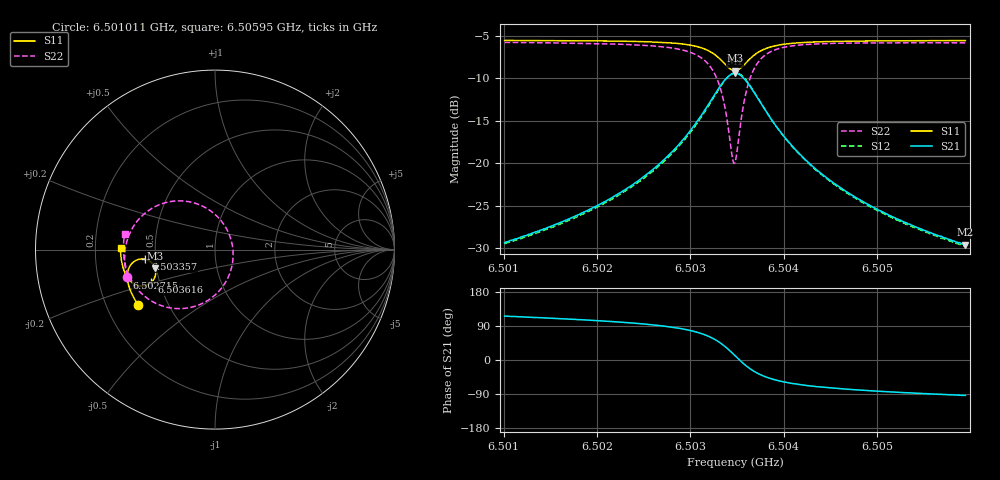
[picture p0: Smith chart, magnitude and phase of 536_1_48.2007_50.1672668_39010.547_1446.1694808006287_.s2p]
#  HZ  S  RI  R  50.00
! Rohde & Schwarz Vector Network Analyzer
! Rohde-Schwarz,ZNB20-2Port,1311601062101988,3.16
! Created: UTC 3/20/2024, 12:00:04 PM
! freq[Hz]  re:S11  im:S11  re:S21  im:S21  re:S12  im:S12  re:S22  im:S22
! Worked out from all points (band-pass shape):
!   401 points, 6.501011 GHz to 6.50595 GHz, reference 50 ohm
!   highest |S21| = -9.44 dB at 6.50348 GHz (marker M1); lowest = -29.6 dB at 6.50595 GHz (marker M2)
!   |S21| within 3 dB of the highest: 6.503233 GHz to 6.503727 GHz (494 kHz wide, 0.0076 % of centre)
!   lowest |S11| = -9.1 dB at 6.50348 GHz (marker M3), VSWR 2.08, Z = 24.5 - j5.86 ohm
!   |S11| at or under -10 dB: nowhere
!   |S22| runs from -20.0 to -5.8 dB; largest |S21 - S12| = 0.011
!   S11 on the Smith chart (normalised r, x): 6.501011 GHz: 0.34, -0.29; 6.502715 GHz: 0.33, -0.14; 6.503357 GHz: 0.44, -0.06; 6.503616 GHz: 0.45, -0.19; 6.50595 GHz: 0.31, +0.01
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6.5010108e9  -0.4287 -0.3066  -0.0148 0.0306  -0.0133 0.0308  -0.4909 -0.15
6.501838e9  -0.464 -0.2449  -0.0141 0.0489  -0.0118 0.0483  -0.5033 -0.0613
6.5022825e9  -0.4795 -0.2053  -0.0112 0.0679  -0.00828 0.0667  -0.5002 0.00249
6.5026653e9  -0.4885 -0.1625  -0.00187 0.0984  0.00172 0.0962  -0.4793 0.08
6.5027147e9  -0.4889 -0.156  0.000795 0.1041  0.00424 0.1016  -0.474 0.0929
6.5029492e9  -0.4856 -0.119  0.0234 0.1409  0.0268 0.1367  -0.4268 0.1668
6.5031098e9  -0.4712 -0.087  0.0624 0.1768  0.0651 0.1713  -0.3509 0.2303
6.5032579e9  -0.4336 -0.0571  0.1437 0.2056  0.1442 0.1998  -0.2031 0.2715
6.5033567e9  -0.3873 -0.0541  0.2347 0.1895  0.2347 0.1851  -0.0454 0.2295
6.5034431e9  -0.3444 -0.0827  0.313 0.1154  0.3154 0.1117  0.0794 0.0838
6.5034678e9  -0.3363 -0.097  0.3265 0.0837  0.3296 0.0794  0.0965 0.0242
6.5034802e9  -0.3335 -0.1048  0.3307 0.0667  0.3343 0.0621  0.1005 -0.00708
6.5035049e9  -0.3304 -0.1209  0.3343 0.0322  0.3384 0.0262  0.0983 -0.0702
6.5035419e9  -0.3325 -0.1449  0.3272 -0.0177  0.3308 -0.026  0.0714 -0.1589
6.503616e9  -0.3547 -0.1819  0.2807 -0.094  0.2811 -0.105  -0.0378 -0.2819
6.5037148e9  -0.3954 -0.2015  0.203 -0.1375  0.1985 -0.1473  -0.1964 -0.3289
6.5038753e9  -0.4446 -0.1939  0.1149 -0.137  0.1083 -0.1425  -0.356 -0.2854
6.5040481e9  -0.4737 -0.1729  0.0674 -0.1164  0.0613 -0.1188  -0.4338 -0.2185
6.5043074e9  -0.4961 -0.1413  0.0343 -0.0899  0.0298 -0.0905  -0.4815 -0.1408
6.5047025e9  -0.5126 -0.0998  0.0145 -0.0648  0.0112 -0.0644  -0.505 -0.0613
6.5051346e9  -0.5214 -0.0596  0.00513 -0.0489  0.00294 -0.0484  -0.5105 0.000327
6.5059495e9  -0.5264 0.00978  -0.002 -0.033  -0.00334 -0.0323  -0.5029 0.0876
